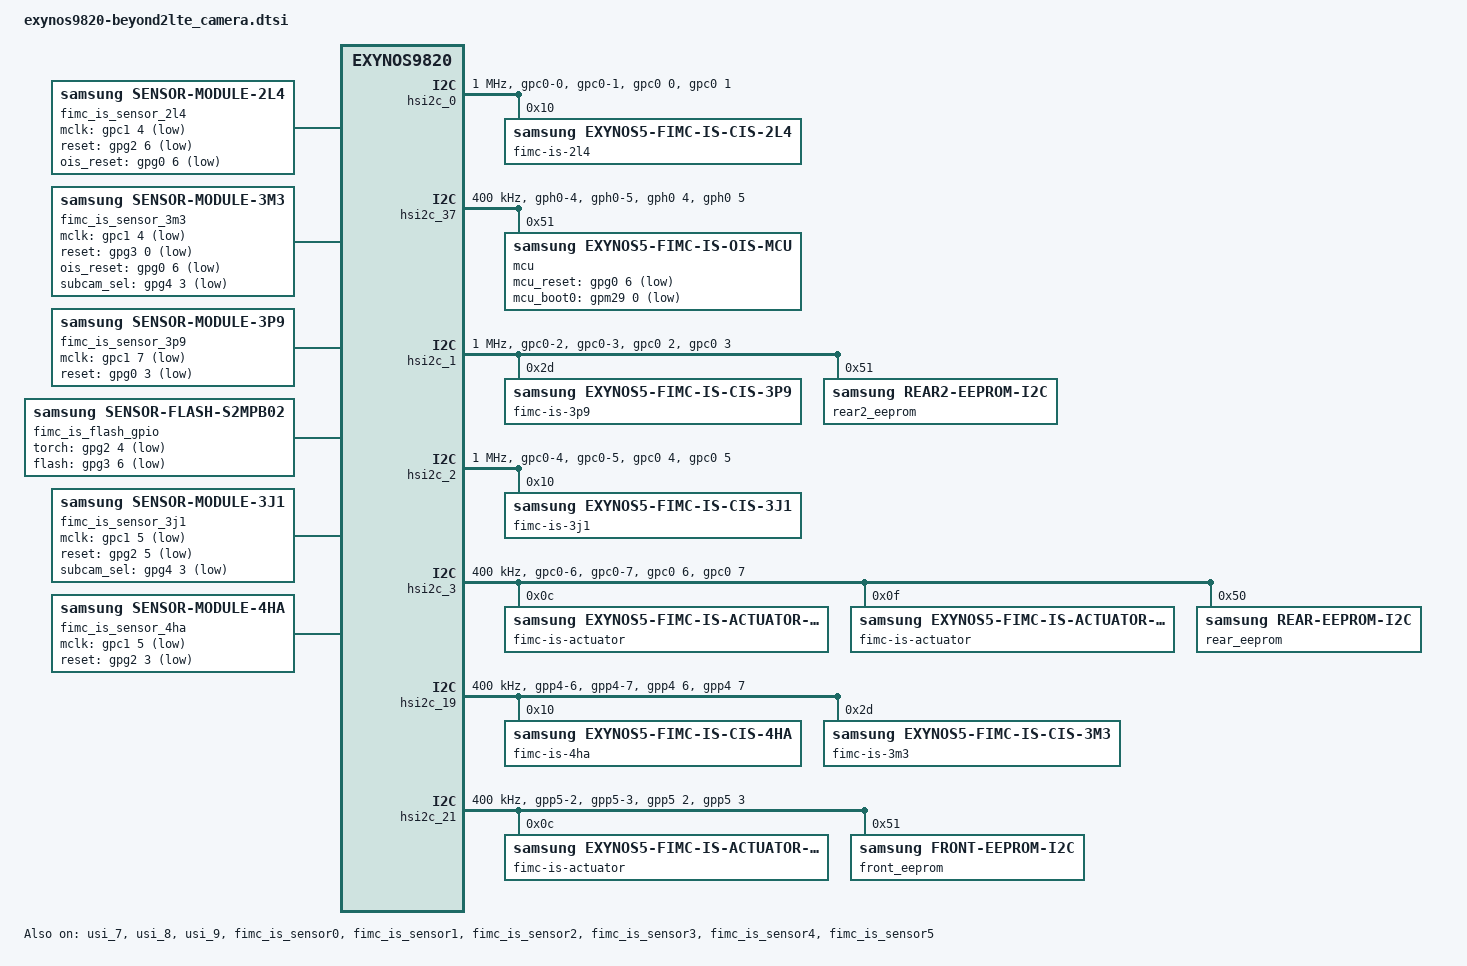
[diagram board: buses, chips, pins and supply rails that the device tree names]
/*
 * SAMSUNG EXYNOS9820 board camera device tree source
 *
 * Copyright (c) 2018 Samsung Electronics Co., Ltd.
 *		http://www.samsung.com
 *
 * This program is free software; you can redistribute it and/or modify
 * it under the terms of the GNU General Public License version 2 as
 * published by the Free Software Foundation.
*/

#include <dt-bindings/camera/fimc_is.h>

/ {
	fragment@camera {
		target-path = "/";
		__overlay__ {
			/* REAR CAMERA */
			fimc_is_sensor_2l4: fimc-is_sensor_2l4@20 {
				compatible = "samsung,sensor-module-2l4";

				pinctrl-names = "pin0", "pin1", "pin2", "release";
				pinctrl-0 = <>;
				pinctrl-1 = <&sensor_mclk0_out>;
				pinctrl-2 = <&sensor_mclk0_fn>;
				pinctrl-3 = <>;

				position = <0>;	/* Rear:0. Front:1. Rear_sub:2. Secure:3. */
				id = <0>; /* fimc_is_sensor id */
				mclk_ch = <0>;
				sensor_i2c_ch = <0>; /* SENSOR_CONTROL_I2C0 */

				rom_type = <2>; /* ROM_TYPE_EEPROM */
				rom_id = <0>;
				rom_cal_index = <0>;

				gpio_mclk = <&gpc1 4 0x1>;
				gpio_reset = <&gpg2 6 0x1>; /* sensor reset */
				gpio_ois_reset = <&gpg0 6 0x1>; /* ois reset */

				status = "okay";

				af {
					product_name = <18>; /* ACTUATOR_NAME_AK737X : ak7371 or ak7374 */
					i2c_ch = <1>; /* SENSOR_CONTROL_I2C1 */
				};

				flash {
					product_name = <11>; /* FLASH_GPIO */
				};

				ois {
					product_name = <100>; /* NOTHING */
				};

				mcu {
					product_name = <1>; /* STM32 */
					i2c_addr = <0x51>;
					i2c_ch = <1>; /* SENSOR_CONTROL_I2C1 */
				};

				aperture {
					product_name = <100>; /* NOTHING */
				};
			};

			/* REAR2 CAMERA */
			fimc_is_sensor_3m3: fimc-is_sensor_3m3@5A {
				compatible = "samsung,sensor-module-3m3";

				pinctrl-names = "pin0", "pin1", "pin2", "release";
				pinctrl-0 = <>;
				pinctrl-1 = <&sensor_mclk0_out>;
				pinctrl-2 = <&sensor_mclk0_fn>;
				pinctrl-3 = <>;

				position = <2>; /* Rear:0. Front:1, Tele:2 */
				id = <2>; /* fimc_is_sensor id */
				mclk_ch = <0>;
				sensor_i2c_ch = <2>; /* SENSOR_CONTROL_I2C2 */

				rom_type = <2>; /* ROM_TYPE_EEPROM */
				rom_id = <0>;
				rom_cal_index = <1>;
				rom_dualcal_id = <0>;
				rom_dualcal_index = <1>;

				gpio_mclk = <&gpc1 4 0x1>; /* mclk shared with wide-cam */
				gpio_reset = <&gpg3 0 0x1>; /* sensor reset */
				gpio_ois_reset = <&gpg0 6 0x1>; /* ois reset */
				gpio_subcam_sel = <&gpg4 3 0x1>; /* sub cam sel */
				power_seq_id = <1>;

				status = "okay";

				af {
					product_name = <18>; /* ACTUATOR_NAME_AK737X : ak7371 or ak7374 */
					i2c_ch = <3>; /* SENSOR_CONTROL_I2C3 */
				};

				flash {
					product_name = <11>; /* FLASH_GPIO */
				};

				preprocessor {
					product_name = <100>; /* NOTHING */
				};

				ois {
					product_name = <100>; /* NOTHING */
				};

				mcu {
					product_name = <1>; /* STM32 */
					i2c_addr = <0x51>;
					i2c_ch = <3>; /* SENSOR_CONTROL_I2C3 */
				};
			};

			/* Ultra Wide CAMERA */
			fimc_is_sensor_3p9: fimc-is_sensor_3p9@2D {
				compatible = "samsung,sensor-module-3p9";

				pinctrl-names = "pin0", "pin1", "pin2", "release";
				pinctrl-0 = <>;
				pinctrl-1 = <&sensor_mclk3_out>;
				pinctrl-2 = <&sensor_mclk3_fn>;
				pinctrl-3 = <>;

				position = <4>; /* Rear:0. Front:1, Tele:2 */
				id = <4>; /* fimc_is_sensor id */
				mclk_ch = <3>;
				sensor_i2c_ch = <4>; /* SENSOR_CONTROL_I2C4 */

				rom_type = <2>; /* ROM_TYPE_EEPROM */
				rom_id = <2>;
				rom_cal_index = <0>;
				rom_dualcal_id = <0>;
				rom_dualcal_index = <0>;

				gpio_mclk = <&gpc1 7 0x1>; /* mclk3 */
				gpio_reset = <&gpg0 3 0x1>; /* sensor reset */
				status = "okay";

				af {
					product_name = <100>; /* NOTHING */
				};

				flash {
					product_name = <11>; /* FLASH_GPIO */
				};

				preprocessor {
					product_name = <100>; /* NOTHING */
				};

				ois {
					product_name = <100>; /* NOTHING */
				};
			};

			fimc_is_flash_gpio: fimc-is-flash-gpio@0 {
				compatible = "samsung,sensor-flash-s2mpb02";
				id = <0 2 4>;
				status = "okay";

				torch-gpio = <&gpg2 4 0x1>;
				flash-gpio = <&gpg3 6 0x1>;
			};

			/* FRONT CAMERA */
			fimc_is_sensor_3j1: fimc-is_sensor_3j1@10 {
				compatible = "samsung,sensor-module-3j1";

				pinctrl-names = "pin0", "pin1", "pin2", "release";
				pinctrl-0 = <>;
				pinctrl-1 = <&sensor_mclk1_out>;
				pinctrl-2 = <&sensor_mclk1_fn>;
				pinctrl-3 = <>;

				position = <1>;	/* Rear:0. Front:1. Rear_sub:2. Secure:3. */
				id = <1>; /* fimc_is_sensor id */
				mclk_ch = <1>;
				sensor_i2c_ch = <4>; /* SENSOR_CONTROL_I2C4 */

				rom_type = <2>; /* ROM_TYPE_EEPROM */
				rom_id = <1>;
				rom_cal_index = <0>;

				gpio_mclk = <&gpc1 5 0x1>;
				gpio_reset = <&gpg2 5 0x1>; /* sensor reset */
				gpio_subcam_sel = <&gpg4 3 0x1>; /* sub cam sel */
				status = "okay";

				af {
					product_name = <18>; /* ACTUATOR_NAME_AK737X */
					i2c_ch = <5>; /* SENSOR_CONTROL_I2C5 */
				};

				flash {
					product_name = <100>; /* NOTHING */
				};

				ois {
					product_name = <100>; /* NOTHING */
				};
			};

			/* FRONT SUB CAMERA */
			fimc_is_sensor_4ha: fimc-is_sensor_4ha@10 {
				compatible = "samsung,sensor-module-4ha";

				pinctrl-names = "pin0", "pin1", "pin2", "release";
				pinctrl-0 = <>;
				pinctrl-1 = <&sensor_mclk1_out>;
				pinctrl-2 = <&sensor_mclk1_fn>;
				pinctrl-3 = <>;

				position = <3>; /* Rear:0. Front:1, Tele:2 */
				id = <3>; /* fimc_is_sensor id */
				mclk_ch = <1>;
				sensor_i2c_ch = <2>; /* SENSOR_CONTROL_I2C2 */

				rom_type = <2>; /* ROM_TYPE_EEPROM */
				rom_id = <1>;
				rom_cal_index = <1>;
				rom_dualcal_id = <1>;
				rom_dualcal_index = <0>;

				gpio_mclk = <&gpc1 5 0x1>; /* mclk1 */
				gpio_reset = <&gpg2 3 0x1>; /* sensor reset */
				status = "okay";

				af {
					product_name = <100>;  /* NOTHING */
				};

				flash {
					product_name = <100>;  /* NOTHING */
				};

				preprocessor {
					product_name = <100>; /* NOTHING */
				};

				ois {
					product_name = <100>; /* NOTHING */
				};
			};
		}; /* end of __overlay__ */
	}; /* end of fragment */
}; /* end of root */

/***** reference symbol node *****/

&fimc_is {
	secure_mem_info = <0x96000000 0x2200000>;
	non_secure_mem_info = <0x98200000 0xE00000>;
	vender {
		rear_sensor_id = <37>; /* 2L4 */
		front_sensor_id = <38>; /* 3J1 */
		rear2_sensor_id = <33>; /* 3M3 */
		front2_sensor_id = <39>; /* 4HA */
		rear3_sensor_id = <40>; /* 3P9 */
		use_module_check;
		use_ois;
		check_sensor_vendor;
		ois_sensor_index = <0>;
		aperture_sensor_index = <0>;
		mcu_sensor_index = <0>;

		max_supported_camera = <9>;
		supported_cameraId = <0 1 20 21 22 23 50 51 52>;
		/* REAR, FRONT, DUAL_REAR_ZOOM, TELE, FRONT_PORTRAIT, WIDE, REAR_2ND, FRONT_2ND, REAR_3RD */

		/* sysfs camera id */
		max_camera_num = <5>;
		camera_info0 {			// 0 : sysfs rear
			internal_id = <0>;	// 0 : wide
			isp = <0>;			/* 0 : INT , 1 : EXT , 2 : SOC */
			cal_memory = <2>;	/* 0 : N , 1 : FROM , 2 : EEPROM , 3 : OTP  */
			read_version = <0>;	/* 0 : SYSFS , 1 : CAMON */
			core_voltage = <0>;	/* 0 : N , 1 : Y  */
			upgrade = <0>;		/* 0 : N , 1 : SYSFS , 2 : CAMON */
			fw_write = <0>;		/* 0 : N,  1 : OS, 2 : SD, 3 : ALL */
			fw_dump = <0>;		/* 0 : N , 1 : Y  */
			companion = <0>;	/* 0 : N , 1 : Y  */
			ois = <1>;			/* 0 : N , 1 : Y  */
			valid = <1>;		/* 0 : INVALID , 1 : VALID   */
		};
		camera_info1 {			// 1 : sysfs front
			internal_id = <1>;	// 1 : front master
			isp = <0>;			/* 0 : INT , 1 : EXT , 2 : SOC */
			cal_memory = <2>;	/* 0 : N , 1 : FROM , 2 : EEPROM , 3 : OTP  */
			read_version = <0>;	/* 0 : SYSFS , 1 : CAMON */
			core_voltage = <0>;	/* 0 : N , 1 : Y  */
			upgrade = <0>;		/* 0 : N , 1 : SYSFS , 2 : CAMON */
			fw_write = <0>;		/* 0 : N,  1 : OS, 2 : SD, 3 : ALL */
			fw_dump = <0>;		/* 0 : N , 1 : Y  */
			companion = <0>;	/* 0 : N , 1 : Y  */
			ois = <0>;			/* 0 : N , 1 : Y  */
			valid = <1>;		/* 0 : INVALID , 1 : VALID   */
		};
		camera_info2 {			// 2 : sysfs rear2
			internal_id = <4>;	// 4 : ultra wide
			isp = <0>;			/* 0 : INT , 1 : EXT , 2 : SOC */
			cal_memory = <2>;	/* 0 : N , 1 : FROM , 2 : EEPROM , 3 : OTP  */
			read_version = <0>;	/* 0 : SYSFS , 1 : CAMON */
			core_voltage = <0>;	/* 0 : N , 1 : Y  */
			upgrade = <0>;		/* 0 : N , 1 : SYSFS , 2 : CAMON */
			fw_write = <0>;		/* 0 : N,  1 : OS, 2 : SD, 3 : ALL */
			fw_dump = <0>;		/* 0 : N , 1 : Y  */
			companion = <0>;	/* 0 : N , 1 : Y  */
			ois = <0>;			/* 0 : N , 1 : Y  */
			valid = <1>;		/* 0 : INVALID , 1 : VALID   */
		};
		camera_info3 {			// 3 : sysfs front2
			internal_id = <3>;	// 3 : front sub
			isp = <0>;			/* 0 : INT , 1 : EXT , 2 : SOC */
			cal_memory = <2>;	/* 0 : N , 1 : FROM , 2 : EEPROM , 3 : OTP  */
			read_version = <0>;	/* 0 : SYSFS , 1 : CAMON */
			core_voltage = <0>;	/* 0 : N , 1 : Y  */
			upgrade = <0>;		/* 0 : N , 1 : SYSFS , 2 : CAMON */
			fw_write = <0>;		/* 0 : N,  1 : OS, 2 : SD, 3 : ALL */
			fw_dump = <0>;		/* 0 : N , 1 : Y  */
			companion = <0>;	/* 0 : N , 1 : Y  */
			ois = <0>;			/* 0 : N , 1 : Y  */
			valid = <1>;		/* 0 : INVALID , 1 : VALID   */
		};
		camera_info4 {			// 4 : sysfs rear3
			internal_id = <2>;	// 4 : tele
			isp = <0>;			/* 0 : INT , 1 : EXT , 2 : SOC */
			cal_memory = <2>;	/* 0 : N , 1 : FROM , 2 : EEPROM , 3 : OTP  */
			read_version = <0>;	/* 0 : SYSFS , 1 : CAMON */
			core_voltage = <0>;	/* 0 : N , 1 : Y  */
			upgrade = <0>;		/* 0 : N , 1 : SYSFS , 2 : CAMON */
			fw_write = <0>;		/* 0 : N,  1 : OS, 2 : SD, 3 : ALL */
			fw_dump = <0>;		/* 0 : N , 1 : Y  */
			companion = <0>;	/* 0 : N , 1 : Y  */
			ois = <1>;			/* 0 : N , 1 : Y  */
			valid = <1>;		/* 0 : INVALID , 1 : VALID   */
		};
	};

	fimc_is_dvfs {
		#define DVFS_INT_CAM_L0 690000
		#define DVFS_INT_CAM_L1 680000
		#define DVFS_INT_CAM_L2 670000
		#define DVFS_INT_CAM_L3 660000
		#define DVFS_INT_CAM_L4 650000
		#define DVFS_INT_CAM_L5 640000
		#define DVFS_INT_CAM_L6 630000

		#define DVFS_INT_L0 534000
		#define DVFS_INT_L1 400000
		#define DVFS_INT_L2 267000
		#define DVFS_INT_L3 200000
		#define DVFS_INT_L4 100000

		#define DVFS_CAM_L0 690000
		#define DVFS_CAM_L1 680000
		#define DVFS_CAM_L2 670000
		#define DVFS_CAM_L3 660000
		#define DVFS_CAM_L4 650000

		#define DVFS_MIF_L0 2094000 /* Currently be disabled */
		#define DVFS_MIF_L1 2093000
		#define DVFS_MIF_L2 1794000
		#define DVFS_MIF_L3 1539000
		#define DVFS_MIF_L4 1352000
		#define DVFS_MIF_L5 1014000
		#define DVFS_MIF_L6 845000
		#define DVFS_MIF_L7 676000
		#define DVFS_MIF_L8 546000
		#define DVFS_MIF_L9 421000

		table0 {
			desc = "dvfs table v0.3 for 12M/10M";

			default_int_cam = <DVFS_INT_CAM_L0>;
			default_cam = <DVFS_CAM_L0>;
			default_mif = <DVFS_MIF_L1>;
			default_int = <DVFS_INT_L4>;
			default_hpg = <1>;

			front2_preview_int_cam = <DVFS_INT_CAM_L5>;
			front2_preview_cam = <DVFS_CAM_L1>;
			front2_preview_mif = <DVFS_MIF_L4>;
			front2_preview_int = <DVFS_INT_L4>;
			front2_preview_hpg = <1>;

			front2_capture_int_cam = <DVFS_INT_CAM_L5>;
			front2_capture_cam = <DVFS_CAM_L1>;
			front2_capture_mif = <DVFS_MIF_L4>;
			front2_capture_int = <DVFS_INT_L4>;
			front2_capture_hpg = <1>;

			front2_video_int_cam = <DVFS_INT_CAM_L5>;
			front2_video_cam = <DVFS_CAM_L1>;
			front2_video_mif = <DVFS_MIF_L4>;
			front2_video_int = <DVFS_INT_L4>;
			front2_video_hpg = <1>;

			front2_video_capture_int_cam = <DVFS_INT_CAM_L5>;
			front2_video_capture_cam = <DVFS_CAM_L1>;
			front2_video_capture_mif = <DVFS_MIF_L4>;
			front2_video_capture_int = <DVFS_INT_L4>;
			front2_video_capture_hpg = <1>;

			front_preview_int_cam = <DVFS_INT_CAM_L5>;
			front_preview_cam = <DVFS_CAM_L1>;
			front_preview_mif = <DVFS_MIF_L4>;
			front_preview_int = <DVFS_INT_L4>;
			front_preview_hpg = <1>;

			front_preview_full_int_cam = <DVFS_INT_CAM_L5>;
			front_preview_full_cam = <DVFS_CAM_L1>;
			front_preview_full_mif = <DVFS_MIF_L4>;
			front_preview_full_int = <DVFS_INT_L4>;
			front_preview_full_hpg = <1>;

			front_capture_int_cam = <DVFS_INT_CAM_L5>;
			front_capture_cam = <DVFS_CAM_L1>;
			front_capture_mif = <DVFS_MIF_L4>;
			front_capture_int = <DVFS_INT_L4>;
			front_capture_hpg = <1>;

			front_video_int_cam = <DVFS_INT_CAM_L5>;
			front_video_cam = <DVFS_CAM_L1>;
			front_video_mif = <DVFS_MIF_L4>;
			front_video_int = <DVFS_INT_L4>;
			front_video_hpg = <1>;

			front_video_whd_int_cam = <DVFS_INT_CAM_L5>;
			front_video_whd_cam = <DVFS_CAM_L1>;
			front_video_whd_mif = <DVFS_MIF_L4>;
			front_video_whd_int = <DVFS_INT_L4>;
			front_video_whd_hpg = <1>;

			front_video_uhd_int_cam = <DVFS_INT_CAM_L5>;
			front_video_uhd_cam = <DVFS_CAM_L1>;
			front_video_uhd_mif = <DVFS_MIF_L4>;
			front_video_uhd_int = <DVFS_INT_L4>;
			front_video_uhd_hpg = <1>;

			front_video_capture_int_cam = <DVFS_INT_CAM_L5>;
			front_video_capture_cam = <DVFS_CAM_L1>;
			front_video_capture_mif = <DVFS_MIF_L4>;
			front_video_capture_int = <DVFS_INT_L4>;
			front_video_capture_hpg = <1>;

			front_video_whd_capture_int_cam = <DVFS_INT_CAM_L5>;
			front_video_whd_capture_cam = <DVFS_CAM_L1>;
			front_video_whd_capture_mif = <DVFS_MIF_L4>;
			front_video_whd_capture_int = <DVFS_INT_L4>;
			front_video_whd_capture_hpg = <1>;

			front_video_uhd_capture_int_cam = <DVFS_INT_CAM_L5>;
			front_video_uhd_capture_cam = <DVFS_CAM_L1>;
			front_video_uhd_capture_mif = <DVFS_MIF_L4>;
			front_video_uhd_capture_int = <DVFS_INT_L4>;
			front_video_uhd_capture_hpg = <1>;

			front_dual_sync_preview_int_cam = <DVFS_INT_CAM_L3>;
			front_dual_sync_preview_cam = <DVFS_CAM_L1>;
			front_dual_sync_preview_mif = <DVFS_MIF_L4>;
			front_dual_sync_preview_int = <DVFS_INT_L4>;
			front_dual_sync_preview_hpg = <1>;

			front_dual_sync_capture_int_cam = <DVFS_INT_CAM_L3>;
			front_dual_sync_capture_cam = <DVFS_CAM_L1>;
			front_dual_sync_capture_mif = <DVFS_MIF_L3>;
			front_dual_sync_capture_int = <DVFS_INT_L4>;
			front_dual_sync_capture_hpg = <1>;

			front_dual_sync_video_fhd_int_cam = <DVFS_INT_CAM_L3>;
			front_dual_sync_video_fhd_cam = <DVFS_CAM_L1>;
			front_dual_sync_video_fhd_mif = <DVFS_MIF_L4>;
			front_dual_sync_video_fhd_int = <DVFS_INT_L4>;
			front_dual_sync_video_fhd_hpg = <1>;

			front_dual_sync_video_fhd_capture_int_cam = <DVFS_INT_CAM_L3>;
			front_dual_sync_video_fhd_capture_cam = <DVFS_CAM_L1>;
			front_dual_sync_video_fhd_capture_mif = <DVFS_MIF_L3>;
			front_dual_sync_video_fhd_capture_int = <DVFS_INT_L4>;
			front_dual_sync_video_fhd_capture_hpg = <1>;

			front_vt1_int_cam = <DVFS_INT_CAM_L5>;
			front_vt1_cam = <DVFS_CAM_L1>;
			front_vt1_mif = <DVFS_MIF_L4>;
			front_vt1_int = <DVFS_INT_L4>;
			front_vt1_hpg = <1>;

			front_vt2_int_cam = <DVFS_INT_CAM_L5>;
			front_vt2_cam = <DVFS_CAM_L1>;
			front_vt2_mif = <DVFS_MIF_L4>;
			front_vt2_int = <DVFS_INT_L4>;
			front_vt2_hpg = <1>;

			front_vt4_int_cam = <DVFS_INT_CAM_L5>;
			front_vt4_cam = <DVFS_CAM_L1>;
			front_vt4_mif = <DVFS_MIF_L4>;
			front_vt4_int = <DVFS_INT_L4>;
			front_vt4_hpg = <1>;

			front_preview_high_speed_fps_int_cam = <DVFS_INT_CAM_L5>;
			front_preview_high_speed_fps_cam = <DVFS_CAM_L1>;
			front_preview_high_speed_fps_mif = <DVFS_MIF_L4>;
			front_preview_high_speed_fps_int = <DVFS_INT_L4>;
			front_preview_high_speed_fps_hpg = <1>;

			rear3_preview_fhd_int_cam = <DVFS_INT_CAM_L5>;
			rear3_preview_fhd_cam = <DVFS_CAM_L1>;
			rear3_preview_fhd_mif = <DVFS_MIF_L4>;
			rear3_preview_fhd_int = <DVFS_INT_L4>;
			rear3_preview_fhd_hpg = <1>;

			rear3_capture_int_cam = <DVFS_INT_CAM_L3>;
			rear3_capture_cam = <DVFS_CAM_L1>;
			rear3_capture_mif = <DVFS_MIF_L4>;
			rear3_capture_int = <DVFS_INT_L4>;
			rear3_capture_hpg = <1>;

			rear3_video_fhd_int_cam = <DVFS_INT_CAM_L4>;
			rear3_video_fhd_cam = <DVFS_CAM_L1>;
			rear3_video_fhd_mif = <DVFS_MIF_L4>;
			rear3_video_fhd_int = <DVFS_INT_L4>;
			rear3_video_fhd_hpg = <1>;

			rear3_video_fhd_capture_int_cam = <DVFS_INT_CAM_L3>;
			rear3_video_fhd_capture_cam = <DVFS_CAM_L1>;
			rear3_video_fhd_capture_mif = <DVFS_MIF_L4>;
			rear3_video_fhd_capture_int = <DVFS_INT_L4>;
			rear3_video_fhd_capture_hpg = <1>;

			rear2_preview_fhd_int_cam = <DVFS_INT_CAM_L5>;
			rear2_preview_fhd_cam = <DVFS_CAM_L1>;
			rear2_preview_fhd_mif = <DVFS_MIF_L4>;
			rear2_preview_fhd_int = <DVFS_INT_L4>;
			rear2_preview_fhd_hpg = <1>;

			rear2_capture_int_cam = <DVFS_INT_CAM_L3>;
			rear2_capture_cam = <DVFS_CAM_L1>;
			rear2_capture_mif = <DVFS_MIF_L4>;
			rear2_capture_int = <DVFS_INT_L4>;
			rear2_capture_hpg = <1>;

			rear2_video_fhd_int_cam = <DVFS_INT_CAM_L4>;
			rear2_video_fhd_cam = <DVFS_CAM_L1>;
			rear2_video_fhd_mif = <DVFS_MIF_L4>;
			rear2_video_fhd_int = <DVFS_INT_L4>;
			rear2_video_fhd_hpg = <1>;

			rear2_video_fhd_capture_int_cam = <DVFS_INT_CAM_L3>;
			rear2_video_fhd_capture_cam = <DVFS_CAM_L1>;
			rear2_video_fhd_capture_mif = <DVFS_MIF_L4>;
			rear2_video_fhd_capture_int = <DVFS_INT_L4>;
			rear2_video_fhd_capture_hpg = <1>;

			rear_preview_fhd_int_cam = <DVFS_INT_CAM_L5>;
			rear_preview_fhd_cam = <DVFS_CAM_L1>;
			rear_preview_fhd_mif = <DVFS_MIF_L4>;
			rear_preview_fhd_int = <DVFS_INT_L4>;
			rear_preview_fhd_hpg = <1>;

			rear_preview_whd_int_cam = <DVFS_INT_CAM_L5>;
			rear_preview_whd_cam = <DVFS_CAM_L1>;
			rear_preview_whd_mif = <DVFS_MIF_L4>;
			rear_preview_whd_int = <DVFS_INT_L4>;
			rear_preview_whd_hpg = <1>;

			rear_preview_uhd_int_cam = <DVFS_INT_CAM_L5>;
			rear_preview_uhd_cam = <DVFS_CAM_L1>;
			rear_preview_uhd_mif = <DVFS_MIF_L4>;
			rear_preview_uhd_int = <DVFS_INT_L4>;
			rear_preview_uhd_hpg = <1>;

			rear_preview_uhd_60fps_int_cam = <DVFS_INT_CAM_L3>;
			rear_preview_uhd_60fps_cam = <DVFS_CAM_L1>;
			rear_preview_uhd_60fps_mif = <DVFS_MIF_L3>;
			rear_preview_uhd_60fps_int = <DVFS_INT_L4>;
			rear_preview_uhd_60fps_hpg = <1>;

			rear_preview_full_int_cam = <DVFS_INT_CAM_L3>;
			rear_preview_full_cam = <DVFS_CAM_L1>;
			rear_preview_full_mif = <DVFS_MIF_L4>;
			rear_preview_full_int = <DVFS_INT_L4>;
			rear_preview_full_hpg = <1>;

			rear_capture_int_cam = <DVFS_INT_CAM_L3>;
			rear_capture_cam = <DVFS_CAM_L1>;
			rear_capture_mif = <DVFS_MIF_L4>;
			rear_capture_int = <DVFS_INT_L4>;
			rear_capture_hpg = <1>;

			rear_video_fhd_int_cam = <DVFS_INT_CAM_L4>;
			rear_video_fhd_cam = <DVFS_CAM_L1>;
			rear_video_fhd_mif = <DVFS_MIF_L4>;
			rear_video_fhd_int = <DVFS_INT_L4>;
			rear_video_fhd_hpg = <1>;

			rear_video_whd_int_cam = <DVFS_INT_CAM_L5>;
			rear_video_whd_cam = <DVFS_CAM_L1>;
			rear_video_whd_mif = <DVFS_MIF_L4>;
			rear_video_whd_int = <DVFS_INT_L4>;
			rear_video_whd_hpg = <1>;

			rear_video_uhd_int_cam = <DVFS_INT_CAM_L3>;
			rear_video_uhd_cam = <DVFS_CAM_L1>;
			rear_video_uhd_mif = <DVFS_MIF_L4>;
			rear_video_uhd_int = <DVFS_INT_L4>;
			rear_video_uhd_hpg = <1>;

			rear_video_uhd_60fps_int_cam = <DVFS_INT_CAM_L4>;
			rear_video_uhd_60fps_cam = <DVFS_CAM_L1>;
			rear_video_uhd_60fps_mif = <DVFS_MIF_L3>;
			rear_video_uhd_60fps_int = <DVFS_INT_L4>;
			rear_video_uhd_60fps_hpg = <1>;

			rear_video_fhd_capture_int_cam = <DVFS_INT_CAM_L3>;
			rear_video_fhd_capture_cam = <DVFS_CAM_L1>;
			rear_video_fhd_capture_mif = <DVFS_MIF_L4>;
			rear_video_fhd_capture_int = <DVFS_INT_L4>;
			rear_video_fhd_capture_hpg = <1>;

			rear_video_whd_capture_int_cam = <DVFS_INT_CAM_L3>;
			rear_video_whd_capture_cam = <DVFS_CAM_L1>;
			rear_video_whd_capture_mif = <DVFS_MIF_L4>;
			rear_video_whd_capture_int = <DVFS_INT_L4>;
			rear_video_whd_capture_hpg = <1>;

			rear_video_uhd_capture_int_cam = <DVFS_INT_CAM_L3>;
			rear_video_uhd_capture_cam = <DVFS_CAM_L1>;
			rear_video_uhd_capture_mif = <DVFS_MIF_L4>;
			rear_video_uhd_capture_int = <DVFS_INT_L4>;
			rear_video_uhd_capture_hpg = <1>;

			dual_preview_int_cam = <DVFS_INT_CAM_L5>;
			dual_preview_cam = <DVFS_CAM_L1>;
			dual_preview_mif = <DVFS_MIF_L4>;
			dual_preview_int = <DVFS_INT_L4>;
			dual_preview_hpg = <1>;

			dual_capture_int_cam = <DVFS_INT_CAM_L3>;
			dual_capture_cam = <DVFS_CAM_L1>;
			dual_capture_mif = <DVFS_MIF_L4>;
			dual_capture_int = <DVFS_INT_L4>;
			dual_capture_hpg = <1>;

			dual_video_fhd_int_cam = <DVFS_INT_CAM_L4>;
			dual_video_fhd_cam = <DVFS_CAM_L1>;
			dual_video_fhd_mif = <DVFS_MIF_L4>;
			dual_video_fhd_int = <DVFS_INT_L4>;
			dual_video_fhd_hpg = <1>;

			dual_video_fhd_capture_int_cam = <DVFS_INT_CAM_L3>;
			dual_video_fhd_capture_cam = <DVFS_CAM_L1>;
			dual_video_fhd_capture_mif = <DVFS_MIF_L4>;
			dual_video_fhd_capture_int = <DVFS_INT_L4>;
			dual_video_fhd_capture_hpg = <1>;

			dual_video_uhd_int_cam = <DVFS_INT_CAM_L3>;
			dual_video_uhd_cam = <DVFS_CAM_L1>;
			dual_video_uhd_mif = <DVFS_MIF_L4>;
			dual_video_uhd_int = <DVFS_INT_L4>;
			dual_video_uhd_hpg = <1>;

			dual_video_uhd_capture_int_cam = <DVFS_INT_CAM_L3>;
			dual_video_uhd_capture_cam = <DVFS_CAM_L1>;
			dual_video_uhd_capture_mif = <DVFS_MIF_L4>;
			dual_video_uhd_capture_int = <DVFS_INT_L4>;
			dual_video_uhd_capture_hpg = <1>;

			dual_sync_preview_int_cam = <DVFS_INT_CAM_L3>;
			dual_sync_preview_cam = <DVFS_CAM_L1>;
			dual_sync_preview_mif = <DVFS_MIF_L4>;
			dual_sync_preview_int = <DVFS_INT_L4>;
			dual_sync_preview_hpg = <1>;

			dual_sync_capture_int_cam = <DVFS_INT_CAM_L3>;
			dual_sync_capture_cam = <DVFS_CAM_L1>;
			dual_sync_capture_mif = <DVFS_MIF_L3>;
			dual_sync_capture_int = <DVFS_INT_L3>;
			dual_sync_capture_hpg = <1>;

			dual_sync_preview_whd_int_cam = <DVFS_INT_CAM_L3>;
			dual_sync_preview_whd_cam = <DVFS_CAM_L1>;
			dual_sync_preview_whd_mif = <DVFS_MIF_L3>;
			dual_sync_preview_whd_int = <DVFS_INT_L4>;
			dual_sync_preview_whd_hpg = <1>;

			dual_sync_whd_capture_int_cam = <DVFS_INT_CAM_L3>;
			dual_sync_whd_capture_cam = <DVFS_CAM_L1>;
			dual_sync_whd_capture_mif = <DVFS_MIF_L3>;
			dual_sync_whd_capture_int = <DVFS_INT_L4>;
			dual_sync_whd_capture_hpg = <1>;

			dual_sync_video_fhd_int_cam = <DVFS_INT_CAM_L3>;
			dual_sync_video_fhd_cam = <DVFS_CAM_L1>;
			dual_sync_video_fhd_mif = <DVFS_MIF_L4>;
			dual_sync_video_fhd_int = <DVFS_INT_L4>;
			dual_sync_video_fhd_hpg = <1>;

			dual_sync_video_fhd_capture_int_cam = <DVFS_INT_CAM_L3>;
			dual_sync_video_fhd_capture_cam = <DVFS_CAM_L1>;
			dual_sync_video_fhd_capture_mif = <DVFS_MIF_L3>;
			dual_sync_video_fhd_capture_int = <DVFS_INT_L4>;
			dual_sync_video_fhd_capture_hpg = <1>;

			dual_sync_video_uhd_int_cam = <DVFS_INT_CAM_L3>;
			dual_sync_video_uhd_cam = <DVFS_CAM_L1>;
			dual_sync_video_uhd_mif = <DVFS_MIF_L4>;
			dual_sync_video_uhd_int = <DVFS_INT_L4>;
			dual_sync_video_uhd_hpg = <1>;

			dual_sync_video_uhd_capture_int_cam = <DVFS_INT_CAM_L3>;
			dual_sync_video_uhd_capture_cam = <DVFS_CAM_L1>;
			dual_sync_video_uhd_capture_mif = <DVFS_MIF_L3>;
			dual_sync_video_uhd_capture_int = <DVFS_INT_L4>;
			dual_sync_video_uhd_capture_hpg = <1>;

			secure_front_int_cam = <DVFS_INT_CAM_L5>;
			secure_front_cam = <DVFS_CAM_L1>;
			secure_front_mif = <DVFS_MIF_L4>;
			secure_front_int = <DVFS_INT_L4>;
			secure_front_hpg = <1>;

			pip_preview_int_cam = <DVFS_INT_CAM_L3>;
			pip_preview_cam = <DVFS_CAM_L1>;
			pip_preview_mif = <DVFS_MIF_L4>;
			pip_preview_int = <DVFS_INT_L4>;
			pip_preview_hpg = <1>;

			pip_capture_int_cam = <DVFS_INT_CAM_L3>;
			pip_capture_cam = <DVFS_CAM_L1>;
			pip_capture_mif = <DVFS_MIF_L4>;
			pip_capture_int = <DVFS_INT_L4>;
			pip_capture_hpg = <1>;

			pip_video_int_cam = <DVFS_INT_CAM_L3>;
			pip_video_cam = <DVFS_CAM_L1>;
			pip_video_mif = <DVFS_MIF_L4>;
			pip_video_int = <DVFS_INT_L4>;
			pip_video_hpg = <1>;

			pip_video_capture_int_cam = <DVFS_INT_CAM_L3>;
			pip_video_capture_cam = <DVFS_CAM_L1>;
			pip_video_capture_mif = <DVFS_MIF_L4>;
			pip_video_capture_int = <DVFS_INT_L4>;
			pip_video_capture_hpg = <1>;

			preview_high_speed_fps_int_cam = <DVFS_INT_CAM_L5>;
			preview_high_speed_fps_cam = <DVFS_CAM_L1>;
			preview_high_speed_fps_mif = <DVFS_MIF_L4>;
			preview_high_speed_fps_int = <DVFS_INT_L4>;
			preview_high_speed_fps_hpg = <1>;

			video_high_speed_60fps_int_cam = <DVFS_INT_CAM_L3>;
			video_high_speed_60fps_cam = <DVFS_CAM_L1>;
			video_high_speed_60fps_mif = <DVFS_MIF_L4>;
			video_high_speed_60fps_int = <DVFS_INT_L4>;
			video_high_speed_60fps_hpg = <1>;

			video_high_speed_120fps_int_cam = <DVFS_INT_CAM_L3>;
			video_high_speed_120fps_cam = <DVFS_CAM_L1>;
			video_high_speed_120fps_mif = <DVFS_MIF_L4>;
			video_high_speed_120fps_int = <DVFS_INT_L4>;
			video_high_speed_120fps_hpg = <1>;

			video_high_speed_240fps_int_cam = <DVFS_INT_CAM_L3>;
			video_high_speed_240fps_cam = <DVFS_CAM_L1>;
			video_high_speed_240fps_mif = <DVFS_MIF_L3>;
			video_high_speed_240fps_int = <DVFS_INT_L4>;
			video_high_speed_240fps_hpg = <1>;

			video_high_speed_dualfps_int_cam = <DVFS_INT_CAM_L3>;
			video_high_speed_dualfps_cam = <DVFS_CAM_L1>;
			video_high_speed_dualfps_mif = <DVFS_MIF_L3>;
			video_high_speed_dualfps_int = <DVFS_INT_L4>;
			video_high_speed_dualfps_hpg = <6>;

			video_high_speed_60fps_capture_int_cam = <DVFS_INT_CAM_L3>;
			video_high_speed_60fps_capture_cam = <DVFS_CAM_L1>;
			video_high_speed_60fps_capture_mif = <DVFS_MIF_L3>;
			video_high_speed_60fps_capture_int = <DVFS_INT_L4>;
			video_high_speed_60fps_capture_hpg = <1>;

			ext_front_int_cam = <DVFS_INT_CAM_L0>;
			ext_front_cam = <DVFS_CAM_L0>;
			ext_front_mif = <DVFS_MIF_L1>;
			ext_front_int = <DVFS_INT_L0>;
			ext_front_hpg = <1>;

			ext_secure_int_cam = <DVFS_INT_CAM_L5>;
			ext_secure_cam = <DVFS_CAM_L3>;
			ext_secure_mif = <DVFS_MIF_L4>;
			ext_secure_int = <DVFS_INT_L4>;
			ext_secure_hpg = <1>;

			max_int_cam = <DVFS_INT_CAM_L0>;
			max_cam = <DVFS_CAM_L0>;
			max_mif = <DVFS_MIF_L1>;
			max_int = <DVFS_INT_L0>;
			max_hpg = <1>;
		};
	};
};

&pinctrl_6 {
	/* PERIC1 CAM0 */
	hsi2c0_bus_in: hsi2c0-bus-in {
		samsung,pins = "gpc0-0", "gpc0-1";
		samsung,pin-function = <0>;
		samsung,pin-pud = <0>;
		samsung,pin-drv = <0>;
	};

	/* PERIC1 CAM1 */
	hsi2c1_bus_in: hsi2c1-bus-in {
		samsung,pins = "gpc0-2", "gpc0-3";
		samsung,pin-function = <0>;
		samsung,pin-pud = <0>;
		samsung,pin-drv = <0>;
	};

	/* PERIC1 CAM2 */
	hsi2c2_bus_in: hsi2c2-bus-in {
		samsung,pins = "gpc0-4", "gpc0-5";
		samsung,pin-function = <0>;
		samsung,pin-pud = <0>;
		samsung,pin-drv = <0>;
	};

	/* PERIC1 CAM3 */
	hsi2c3_bus_in: hsi2c3-bus-in {
		samsung,pins = "gpc0-6", "gpc0-7";
		samsung,pin-function = <0>;
		samsung,pin-pud = <0>;
		samsung,pin-drv = <0>;
	};

	/* PERIC1 USI07_I2C */
	hsi2c19_bus_in: hsi2c19-bus-in {
		samsung,pins = "gpp4-6", "gpp4-7";
		samsung,pin-function = <0>;
		samsung,pin-pud = <0>;
		samsung,pin-drv = <0>;
	};

	/* PERIC1 USI08_I2C */
	hsi2c21_bus_in: hsi2c21-bus-in {
		samsung,pins = "gpp5-2", "gpp5-3";
		samsung,pin-function = <0>;
		samsung,pin-pud = <0>;
		samsung,pin-drv = <0>;
	};

	/* PERIC1 USI09 */
	hsi2c22_bus_in: hsi2c22-bus-in {
		samsung,pins = "gpp5-4", "gpp5-5";
		samsung,pin-function = <0>;
		samsung,pin-pud = <0>;
		samsung,pin-drv = <0>;
	};

	/* PERIC1 CAM0 */
	from_spi_pin0_out: from-spi-pin0-out {
		samsung,pins = "gpc1-2", "gpc1-1", "gpc1-0";
		samsung,pin-function = <1>;
		samsung,pin-pud = <1>;
		samsung,pin-drv = <0>;
		samsung,pin-val = <0>;
	};

	from_spi_pin0_fn: from-spi-pin0-fn {
		samsung,pins = "gpc1-2", "gpc1-1", "gpc1-0";
		samsung,pin-function = <2>;
		samsung,pin-pud = <0>;
		samsung,pin-drv = <0>;
		samsung,pin-val = <0>;
	};

	from_spi_ssn0_out: from-spi-ssn0-out {
		samsung,pins = "gpc1-3";
		samsung,pin-function = <1>;
		samsung,pin-pud = <0>;
		samsung,pin-drv = <0>;
	};

	from_spi_ssn0_fn: from-spi-ssn0-fn {
		samsung,pins = "gpc1-3";
		samsung,pin-function = <2>;
		samsung,pin-pud = <0>;
		samsung,pin-drv = <0>;
	};

	from_spi_ssn0_inpd: from-spi-ssn0-inpd {
		samsung,pins = "gpc1-3";
		samsung,pin-function = <0>;
		samsung,pin-pud = <1>;
		samsung,pin-drv = <0>;
	};

	from_spi_ssn0_inpu: from-spi-ssn0-inpu {
		samsung,pins = "gpc1-3";
		samsung,pin-function = <0>;
		samsung,pin-pud = <3>;
		samsung,pin-drv = <0>;
	};

	hsi2c37_bus_in: hsi2c37-bus-in {
		samsung,pins = "gph0-4", "gph0-5";
		samsung,pin-function = <0>;
		samsung,pin-pud = <0>;
		samsung,pin-drv = <0>;
	};
};

&pinctrl_2 {
	gpm29: gpm29 {
		samsung,pins = "gpm29-0";
		samsung,pin-function = <1>;
		samsung,pin-pud = <0>;
		samsung,pin-drv = <0>;
	};
};

&pinctrl_5{
	gpg0: gpg0 {
		samsung,pins = "gpg0-6";
		samsung,pin-function = <1>;
		samsung,pin-pud = <0>;
		samsung,pin-drv = <0>;
	};
};

&usi_7 {
	usi_v2_mode = "i2c";
	status = "okay";
};

&usi_8 {
	usi_v2_mode = "i2c";
	status = "okay";
};

&usi_9 {
	usi_v2_mode = "i2c";
	status = "okay";
};

/* PERIC1 CAM0 */
&hsi2c_0 {
	#address-cells = <1>;
	#size-cells = <0>;
	gpios = <&gpc0 0 0 &gpc0 1 0>;
	status = "okay";
	clock-frequency = <1000000>;
	samsung,reset-before-trans;
	samsung,fast-plus-mode;

	pinctrl-names = "default","on_i2c","off_i2c";
	pinctrl-0 = <&hsi2c0_bus_in>;
	pinctrl-1 = <&hsi2c0_bus>;
	pinctrl-2 = <&hsi2c0_bus_in>;

	fimc-is-2l4@10 {
		compatible = "samsung,exynos5-fimc-is-cis-2l4";
		reg = <0x10>; /* 1 bit right shift */
		id = <0>; /* matching fimc_is_sensor id */
		setfile = "default";
	};
};

&hsi2c_37 {
	#address-cells = <1>;
	#size-cells = <0>;
	gpios = <&gph0 4 0 &gph0 5 0>;
	status = "okay";
	clock-frequency = <400000>;
	samsung,reset-before-trans;

	pinctrl-names = "default","on_i2c","off_i2c";
	pinctrl-0 = <&hsi2c37_bus_in>;
	pinctrl-1 = <&hsi2c37_bus>;
	pinctrl-2 = <&hsi2c37_bus_in>;

	mcu@51 {
		compatible = "samsung,exynos5-fimc-is-ois-mcu";
		reg = <0x51>;
		id = <0 2>;
		gpio_mcu_reset = <&gpg0 6 0x1>; /* ois reset */
		gpio_mcu_boot0 = <&gpm29 0 0x1>; /* mcu boot0 */
	};
};

/* PERIC1 CAM1 */
&hsi2c_1 {
	#address-cells = <1>;
	#size-cells = <0>;
	gpios = <&gpc0 2 0 &gpc0 3 0>;
	status = "okay";
	clock-frequency = <1000000>;
	samsung,reset-before-trans;
	samsung,fast-plus-mode;

	pinctrl-names = "default","on_i2c","off_i2c";
	pinctrl-0 = <&hsi2c1_bus_in>;
	pinctrl-1 = <&hsi2c1_bus>;
	pinctrl-2 = <&hsi2c1_bus_in>;

	fimc-is-3p9@2D {
		compatible = "samsung,exynos5-fimc-is-cis-3p9";
		reg = <0x2D>; /* 1 bit right shift */
		id = <4>; /* matching fimc_is_sensor id */
		setfile = "setA";
		status = "okay";
	};

	rear2_eeprom@51 { /* Ultra wide eeprom */
		compatible = "samsung,rear2-eeprom-i2c";
		reg = <0x51>;

		rom_power_position = <4>;
		rom_size = <0x4000>;
		cal_map_es_version = <10>;
		camera_module_es_version = "A";
		/*skip_cal_loading;*/

		/* Beyond_Rear_Cal_Map_V010_20180709_for_ALL */
		/* 0 header */
		header_crc_check_list = <0x0000 0x00FB 0x00FC>;
		/* 0 master LSC */
		/* 1 master all */
		crc_check_list = <0x0100 0x1AFB 0x1AFC
							0x2200 0x22DF 0x22FC>;

		/* Master */
		rom_header_version_start_addr = <0x40>;
		rom_header_cal_data_start_addr = <0x100>;

		rom_header_cal_map_ver_start_addr = <0x50>;
		rom_header_isp_setfile_ver_start_addr = <0x54>;
		rom_header_project_name_start_addr = <0x5E>;

		rom_header_module_id_addr = <0xAE>; /* 0xA8 + reserved bytes */
		rom_header_sensor_id_addr = <0xB8>;

		rom_header_mtf_data_addr = <0x66>;

		rom_awb_master_addr = <0x2200>;
		rom_awb_module_addr = <0x2224>;
	};
};

/* PERIC1 CAM2 */
&hsi2c_2 {
	#address-cells = <1>;
	#size-cells = <0>;
	gpios = <&gpc0 4 0 &gpc0 5 0>;
	status = "okay";
	clock-frequency = <1000000>;
	samsung,reset-before-trans;
	samsung,fast-plus-mode;

	pinctrl-names = "default","on_i2c","off_i2c";
	pinctrl-0 = <&hsi2c2_bus_in>;
	pinctrl-1 = <&hsi2c2_bus>;
	pinctrl-2 = <&hsi2c2_bus_in>;

	fimc-is-3j1@10 {
		compatible = "samsung,exynos5-fimc-is-cis-3j1";
		reg = <0x10>; /* 1 bit right shift */
		id = <1>; /* matching fimc_is_sensor id */
		setfile = "default";
	};
};

/* PERI1 CAM3 */
&hsi2c_3 {
	#address-cells = <1>;
	#size-cells = <0>;
	gpios = <&gpc0 6 0 &gpc0 7 0>;
	status = "okay";
	clock-frequency = <400000>;
	samsung,reset-before-trans;

	pinctrl-names = "default","on_i2c","off_i2c";
	pinctrl-0 = <&hsi2c3_bus_in>;
	pinctrl-1 = <&hsi2c3_bus>;
	pinctrl-2 = <&hsi2c3_bus_in>;

	fimc-is-actuator@0C {
		compatible = "samsung,exynos5-fimc-is-actuator-ak737x";
		reg = <0x0C>;
		id = <0>; /* matching fimc_is_sensor id */
		/* AK7374: addr 0xF3, data 0x0E */
		vendor_product_id = <0xF3 0x0E>;
		vendor_first_pos = <120>;
		vendor_first_delay = <2000>;
		vendor_use_sleep_mode;
	};

	fimc-is-actuator@0F {
		compatible = "samsung,exynos5-fimc-is-actuator-ak737x";
		reg = <0x0F>;
		id = <2>; /* matching sensor id */
		/* AK7374: addr 0xF3, data 0x0E */
		vendor_product_id = <0xF3 0x0E>;
		vendor_first_pos = <120>;
		vendor_first_delay = <2000>;
		vendor_use_sleep_mode;
	};

	rear_eeprom@50 {
		compatible = "samsung,rear-eeprom-i2c";
		reg = <0x50>;

		rom_power_position = <0>;
		rom_size = <0x10000>;
		cal_map_es_version = <10>;
		camera_module_es_version = "A";
		/*skip_cal_loading;*/

		/* Beyond_Rear_Cal_Map_V010_20180709_for_ALL */
		/* 0 header */
		header_crc_check_list = <0x0000 0x01FB 0x01FC>;
		/* 0 master LSC F1.5 */
		/* 1 master LSC F2.4 */
		/* 2 master all */
		crc_check_list = <0x0200 0x1BFB 0x1BFC
							0x1C00 0x35FB 0x35FC
							0x4400 0x75DF 0x75FC>;

		/* 0 u-wide dual cal data */
		/* 1 tele LSC */
		/* 2 tele dual cal data */
		dual_crc_check_list = <0x7600 0x7EFB 0x7EFC
								0x7F00 0x98FB 0x98FC
								0xA000 0xB7DF 0xB7FC>;

		/* Master */
		rom_header_version_start_addr = <0x50>;
		rom_header_cal_data_start_addr = <0x200>;

		rom_header_cal_map_ver_start_addr = <0x70>;
		rom_header_isp_setfile_ver_start_addr = <0x74>;
		rom_header_project_name_start_addr = <0x7E>;

		rom_header_module_id_addr = <0xAE>; /* 0xA8 + reserved bytes */
		rom_header_sensor_id_addr = <0xB8>;

		rom_header_mtf_data_addr = <0xE0>;
		rom_header_f2_mtf_data_addr = <0x116>;

		rom_awb_master_addr = <0x7450>;
		rom_awb_module_addr = <0x7474>;

		rom_af_cal_macro_addr = <0x7430>;
		rom_af_cal_d50_addr = <0x7428>;
		rom_af_cal_pan_addr = <0x7424>;

		/* Slave 0 */
		rom_header_sensor2_version_start_addr = <0x40>;
		rom_header_sensor2_id_addr = <0xC8>;
		rom_header_sensor2_mtf_data_addr = <0x14C>;

		rom_sensor2_awb_master_addr = <0xAE60>;
		rom_sensor2_awb_module_addr = <0xAE84>;

		rom_sensor2_af_cal_d50_addr = <0xAE38>;
		rom_sensor2_af_cal_pan_addr = <0xAE34>;

		/* Dual cal slave 0 - Ultra wide */
		rom_dualcal_slave0_start_addr = <0x7600>;
		rom_dualcal_slave0_size = <0x800>; /* 2048 */
		/* x y z sx sy */
		/* range max_err avg_err dll_version*/
		rom_dualcal_slave0_tilt_list = <0x7660 0x7664 0x7668 0x76C0 0x76C4
										0x7DE0 0x7DE4 0x7DE8 0x7600>;

		/* Dual cal slave 1 - Tele */
		rom_dualcal_slave1_start_addr = <0xAF10>;
		rom_dualcal_slave1_size = <0x800>; /* 2048 */
		/* x y z sx sy */
		/* range max_err avg_err dll_version*/
		rom_dualcal_slave1_tilt_list = <0xAF70 0xAF74 0xAF78 0xAFD0 0xAFD4
										0xB6F0 0xB6F4 0xB6F8 0xAF10>;

		/* sensor ois - xgg ygg xcoef ycoef xsupper ysupper calmark */
		/* sensor2 ois - xgg ygg xcoef ycoef xsupper ysupper calmark */
		rom_ois_list = <0x7550 0x7554 0xB625 0xB627 0x7578 0x757A 0x7570
						0xB730 0xB734 0xB629 0xB62B 0xB758 0xB75A 0xB750>;
	};
};

/* USI07_USI_I2C */
&hsi2c_19 {
	#address-cells = <1>;
	#size-cells = <0>;
	gpios = <&gpp4 6 0 &gpp4 7 0>;
	status = "okay";
	clock-frequency = <400000>;
	samsung,reset-before-trans;

	pinctrl-names = "default","on_i2c","off_i2c";
	pinctrl-0 = <&hsi2c19_bus_in>;
	pinctrl-1 = <&hsi2c19_bus>;
	pinctrl-2 = <&hsi2c19_bus_in>;

	fimc-is-4ha@10 {
		compatible = "samsung,exynos5-fimc-is-cis-4ha";
		reg = <0x10>; /* 1 bit right shift */
		id = <3>; /* matching fimc_is_sensor id */
		setfile = "setA";
		status = "okay";
	};

	fimc-is-3m3@2D {
		compatible = "samsung,exynos5-fimc-is-cis-3m3";
		reg = <0x2D>; /* 1 bit right shift */
		id = <2>; /* matching fimc_is_sensor id */
		setfile = "setA";
	};
};

/* USI08_USI_I2C */
&hsi2c_21 {
	#address-cells = <1>;
	#size-cells = <0>;
	gpios = <&gpp5 2 0 &gpp5 3 0>;
	status = "okay";
	clock-frequency = <400000>;
	samsung,reset-before-trans;

	pinctrl-names = "default","on_i2c","off_i2c";
	pinctrl-0 = <&hsi2c21_bus_in>;
	pinctrl-1 = <&hsi2c21_bus>;
	pinctrl-2 = <&hsi2c21_bus_in>;

	fimc-is-actuator@0C {
		compatible = "samsung,exynos5-fimc-is-actuator-ak737x";
		reg = <0x0C>;
		id = <1>; /* matching fimc_is_sensor id */
		/* AK737x: addr 0xF3, data 0x0E */
		vendor_product_id = <0xF3 0x0E>;
		vendor_first_pos = <120>;
		vendor_first_delay = <2000>;
	};

	front_eeprom@51 {
		compatible = "samsung,front-eeprom-i2c";
		reg = <0x51>;

		rom_power_position = <1>;
		rom_size = <0x4000>;
		cal_map_es_version = <4>;
		camera_module_es_version = "A";
		/*skip_cal_loading;*/

		/* Beyond_Front_Cal_Map_V004_20180801_for_LSI */
		/* 0 header */
		header_crc_check_list = <0x0000 0x015F 0x01FC>;
		/* 0 master */
		crc_check_list = <0x0200 0x34DF 0x34FC>;

		/* 0 dual */
		dual_crc_check_list = <0x3500 0x39DF 0x39FC>;

		/* Master */
		rom_header_version_start_addr = <0x30>;
		rom_header_cal_data_start_addr = <0x200>;

		rom_header_cal_map_ver_start_addr = <0x50>;
		/* rom_header_isp_setfile_ver_start_addr = <>; */
		rom_header_project_name_start_addr = <0x5C>;

		rom_header_module_id_addr = <0xAE>; /* 0xA8 + reserved bytes */
		rom_header_sensor_id_addr = <0x70>;

		rom_header_mtf_data_addr = <0xE0>;

		rom_awb_master_addr = <0x1A40>;
		rom_awb_module_addr = <0x1A4C>;

		rom_af_cal_macro_addr = <0x1A20>;
		rom_af_cal_pan_addr = <0x1A14>;

		/* Slave 0 */
		rom_header_sensor2_version_start_addr = <0x40>;
		rom_header_sensor2_id_addr = <0x80>;
		rom_header_sensor2_mtf_data_addr = <0x116>;

		/* rom_sensor2_awb_master_addr = <0x0>;*/ /* use default awb cal */
		/* rom_sensor2_awb_module_addr = <0x0>;*/ /* use default awb cal */

		/* Dual cal slave 0 - Front sub */
		rom_dualcal_slave0_start_addr = <0x3500>;
		rom_dualcal_slave0_size = <0x400>; /* 1024 */
		/* x y z sx sy */
		/* range max_err avg_err dll_version*/
		rom_dualcal_slave0_tilt_list = <0x3560 0x3564 0x3568 0x35C0 0x35C4
										0x38E4 0x38E8 0x38EC 0x3500>;
	};
};

&fimc_is_sensor0 {
	scenario = <SENSOR_SCENARIO_NORMAL>;	/* Normal, Vision, OIS etc */
	id = <0>;
	csi_ch = <0>;
	dma_ch = <0 0 0 0 0 4 4 4>;
	vc_ch = <0 1 2 3 0 1 2 3>;
	flite_ch = <FLITE_ID_NOTHING>;
	is_bns = <0>;
	use_ssvc2_internal;
	use_ssvc3_internal;
	status = "okay";
};

&fimc_is_sensor1 {
	scenario = <SENSOR_SCENARIO_NORMAL>;	/* Normal, Vision, OIS etc */
	id = <1>;
	csi_ch = <2>;
	dma_ch = <2 2 2 2 2 6 6 6>;
	vc_ch = <0 1 2 3 0 1 2 3>;
	flite_ch = <FLITE_ID_NOTHING>;
	is_bns = <0>;
	use_ssvc2_internal;
	use_ssvc3_internal;
	status = "okay";
};

&fimc_is_sensor2 {
	scenario = <SENSOR_SCENARIO_NORMAL>;	/* Normal, Vision, OIS etc */
	id = <2>;
	csi_ch = <2>;
	dma_ch = <2 2 2 2>;
	vc_ch = <0 1 2 3>;
	flite_ch = <FLITE_ID_NOTHING>;
	use_ssvc1_internal;
	is_bns = <0>;
	status = "okay";
};

&fimc_is_sensor3 {
	scenario = <SENSOR_SCENARIO_NORMAL>;	/* Normal, Vision, OIS etc */
	id = <3>;
	csi_ch = <4>;
	dma_ch = <3 3 3 3>;
	vc_ch = <0 1 2 3>;
	flite_ch = <FLITE_ID_NOTHING>;
	is_bns = <0>;
	status = "okay";
};

&fimc_is_sensor4 {
	scenario = <SENSOR_SCENARIO_NORMAL>;	/* Normal, Vision, OIS etc */
	id = <4>;
	csi_ch = <1>;
	dma_ch = <1 1 1 1>;
	vc_ch = <0 1 2 3>;
	flite_ch = <FLITE_ID_NOTHING>;
	is_bns = <0>;
	status = "okay";
};

&fimc_is_sensor5 {
	scenario = <SENSOR_SCENARIO_NORMAL>;	/* Normal, Vision, OIS etc */
	id = <5>;
	csi_ch = <1>;
	dma_ch = <1 1 1 1>;
	vc_ch = <0 1 2 3>;
	flite_ch = <FLITE_ID_NOTHING>;
	is_bns = <0>;
	status = "okay";
};
